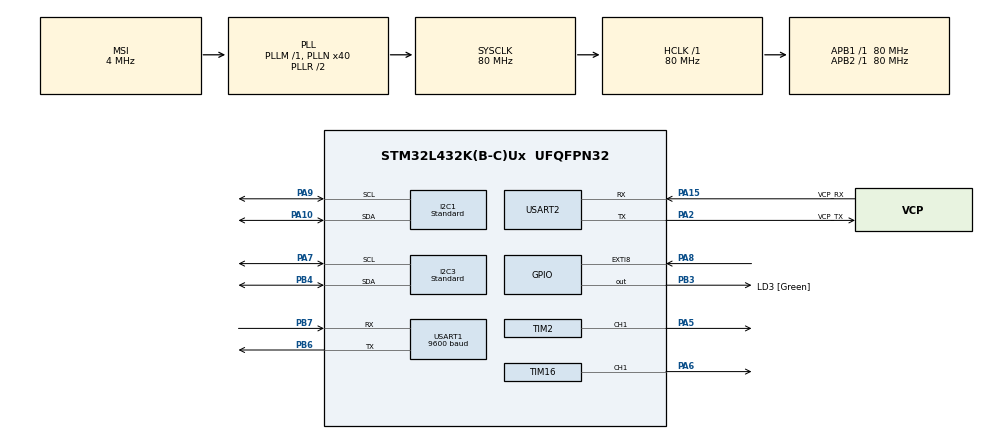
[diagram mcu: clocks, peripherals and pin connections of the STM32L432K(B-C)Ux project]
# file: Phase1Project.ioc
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Dma.I2C1_RX.0.Direction=DMA_PERIPH_TO_MEMORY
Dma.I2C1_RX.0.Instance=DMA1_Channel7
Dma.I2C1_RX.0.MemDataAlignment=DMA_MDATAALIGN_BYTE
Dma.I2C1_RX.0.MemInc=DMA_MINC_ENABLE
Dma.I2C1_RX.0.Mode=DMA_NORMAL
Dma.I2C1_RX.0.PeriphDataAlignment=DMA_PDATAALIGN_BYTE
Dma.I2C1_RX.0.PeriphInc=DMA_PINC_DISABLE
Dma.I2C1_RX.0.Priority=DMA_PRIORITY_LOW
Dma.Request0=I2C1_RX
FREERTOS.Tasks01=defaultTask,24,128,StartDefaultTask,Default,NULL,Dynamic,NULL,NULL
FREERTOS.configTOTAL_HEAP_SIZE=12288
I2C1.I2C_Fall_Time=10
I2C1.I2C_Rise_Time=100
I2C1.I2C_Speed_Mode=I2C_Standard
I2C1.Timing=0xC0201A20
I2C3.I2C_Speed_Mode=I2C_Standard
I2C3.Timing=0x10D19CE4
Mcu.Family=STM32L4
Mcu.Name=STM32L432K(B-C)Ux
Mcu.Package=UFQFPN32
NVIC.DMA1_Channel7_IRQn=true\:5\:0\:false\:false\:true\:true\:false\:true\:true
NVIC.EXTI9_5_IRQn=true\:5\:0\:false\:false\:true\:true\:true\:true\:true
NVIC.PriorityGroup=NVIC_PRIORITYGROUP_4
NVIC.TIM7_IRQn=true\:15\:0\:false\:false\:true\:false\:false\:true\:true
NVIC.TimeBase=TIM7_IRQn
NVIC.TimeBaseIP=TIM7
NVIC.USART2_IRQn=true\:5\:0\:false\:false\:true\:true\:true\:true\:true
PA0.GPIO_Label=MCO [High speed clock in]
PA0.Mode=HSE-External-Clock-Source-for-LittleOrca
PA0.Signal=RCC_CK_IN
PA10.Mode=I2C
PA10.Signal=I2C1_SDA
PA13\ (JTMS-SWDIO).GPIO_Label=SWDIO
PA13\ (JTMS-SWDIO).Mode=Serial_Wire
PA13\ (JTMS-SWDIO).Signal=SYS_JTMS-SWDIO
PA14\ (JTCK-SWCLK).GPIO_Label=SWCLK
PA14\ (JTCK-SWCLK).Mode=Serial_Wire
PA14\ (JTCK-SWCLK).Signal=SYS_JTCK-SWCLK
PA15\ (JTDI).GPIO_Label=VCP_RX
PA15\ (JTDI).Mode=Asynchronous
PA15\ (JTDI).Signal=USART2_RX
PA2.GPIO_Label=VCP_TX
PA2.Mode=Asynchronous
PA2.Signal=USART2_TX
PA5.Signal=S_TIM2_CH1
PA6.Signal=S_TIM16_CH1
PA7.Mode=I2C
PA7.Signal=I2C3_SCL
PA8.GPIO_ModeDefaultEXTI=GPIO_MODE_IT_FALLING
PA8.GPIO_PuPd=GPIO_PULLUP
PA8.Signal=GPXTI8
PA9.Mode=I2C
PA9.Signal=I2C1_SCL
PB3\ (JTDO-TRACESWO).GPIO_Label=LD3 [Green]
PB3\ (JTDO-TRACESWO).Signal=GPIO_Output
PB4\ (NJTRST).Mode=I2C
PB4\ (NJTRST).Signal=I2C3_SDA
PB6.Mode=Asynchronous
PB6.Signal=USART1_TX
PB7.Mode=Asynchronous
PB7.Signal=USART1_RX
PC14-OSC32_IN\ (PC14).Mode=LSE-External-Oscillator
PC14-OSC32_IN\ (PC14).Signal=RCC_OSC32_IN
PC15-OSC32_OUT\ (PC15).Mode=LSE-External-Oscillator
PC15-OSC32_OUT\ (PC15).Signal=RCC_OSC32_OUT
ProjectManager.HeapSize=0x200
ProjectManager.StackSize=0x400
ProjectManager.TargetToolchain=MDK-ARM V5.32
RCC.AHBFreq_Value=80000000
RCC.APB1Freq_Value=80000000
RCC.APB1TimFreq_Value=80000000
RCC.APB2Freq_Value=80000000
RCC.APB2TimFreq_Value=80000000
RCC.CortexFreq_Value=80000000
RCC.HCLKFreq_Value=80000000
RCC.HSE_VALUE=8000000
RCC.HSI16_VALUE=16000000
RCC.HSI48_VALUE=48000000
RCC.HSI_VALUE=16000000
RCC.MSI_VALUE=4000000
RCC.PLLMUL=RCC_PLLMUL_4
RCC.PLLN=40
RCC.SYSCLKFreq_VALUE=80000000
RCC.SYSCLKSource=RCC_SYSCLKSOURCE_PLLCLK
RCC.VCOOutputFreq_Value=160000000
SH.S_TIM16_CH1.0=TIM16_CH1,PWM Generation1 CH1
SH.S_TIM2_CH1.0=TIM2_CH1,PWM Generation1 CH1
TIM16.Channel=TIM_CHANNEL_1
TIM16.Prescaler=79
TIM2.Channel-PWM\ Generation1\ CH1=TIM_CHANNEL_1
TIM2.Period=0xffffffff
TIM2.Prescaler=79
USART1.BaudRate=9600
USART1.VirtualMode-Asynchronous=VM_ASYNC
USART2.VirtualMode-Asynchronous=VM_ASYNC
VP_FREERTOS_VS_CMSIS_V2.Mode=CMSIS_V2
VP_SYS_VS_tim7.Mode=TIM7
VP_TIM16_VS_ClockSourceINT.Mode=Enable_Timer
VP_TIM1_VS_ClockSourceINT.Mode=Internal
VP_TIM2_VS_ClockSourceINT.Mode=Internal
VP_TIM6_VS_ClockSourceINT.Mode=Enable_Timer
board=NUCLEO-L432KC

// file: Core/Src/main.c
/* USER CODE BEGIN Header */
/**
  ******************************************************************************
  * @file           : main.c
  * @brief          : Main program body
  ******************************************************************************
  */
/* USER CODE END Header */
#include "main.h"
#include "cmsis_os.h"

/* USER CODE BEGIN Includes */
#include "max30102.h"
#include "u8g2.h"
#include "display.h"
#include "hrv.h"
#include <stdio.h>
#include <string.h>

/* USER CODE END Includes */

/* USER CODE BEGIN PD */
#define BUZZER_FREQ(f)  do { \
    __HAL_TIM_SET_AUTORELOAD(&htim16, (80000000UL / (79+1)) / (f) - 1); \
    __HAL_TIM_SET_COMPARE(&htim16, TIM_CHANNEL_1, \
    (__HAL_TIM_GET_AUTORELOAD(&htim16) + 1) / 2); \
} while(0)
#define BUZZER_STOP()   HAL_TIM_PWM_Stop(&htim16, TIM_CHANNEL_1)
#define BUZZER_START()  HAL_TIM_PWM_Start(&htim16, TIM_CHANNEL_1)
#define NOTE_C4   262
#define NOTE_D4   294
#define NOTE_E4   330
#define NOTE_F4   349
#define NOTE_G4   392
#define NOTE_A4   440
#define NOTE_B4   494
#define NOTE_C5   523
#define NOTE_D5   587
#define NOTE_E5   659
#define NOTE_G4_  415
#define NOTE_A4_  466
/* USER CODE END PD */

I2C_HandleTypeDef hi2c1;
I2C_HandleTypeDef hi2c3;
DMA_HandleTypeDef hdma_i2c1_rx;

TIM_HandleTypeDef htim1;
TIM_HandleTypeDef htim2;
TIM_HandleTypeDef htim6;
TIM_HandleTypeDef htim16;

UART_HandleTypeDef huart1;
UART_HandleTypeDef huart2;

/* Definitions for defaultTask */
osThreadId_t defaultTaskHandle;
const osThreadAttr_t defaultTask_attributes = {
  .name = "defaultTask",
  .stack_size = 128 * 4,
  .priority = (osPriority_t) osPriorityNormal,
};
/* USER CODE BEGIN PV */
u8g2_t  u8g2;
HRV_t   hrv;

static uint32_t live_bpm          = 0;
static int32_t  ppg_prev          = 0;
static int32_t  ppg_prev2         = 0;
static uint32_t last_peak_ms      = 0;
static int32_t  ppg_min           = 0;
static int32_t  ppg_max           = 0;
static uint8_t  recalibrate_peaks = 0;

uint32_t t_fifo = 0;
uint32_t t_hrv  = 0;
uint32_t t_disp = 0;

int32_t  wave_buf[128] = {0};
uint8_t  wave_idx      = 0;

static uint32_t dbg_fifo_reads  = 0;
static uint32_t dbg_fifo_empty  = 0;
static uint32_t dbg_fifo_errors = 0;
static uint32_t dbg_beat_count  = 0;
static uint32_t dbg_disp_count  = 0;
static uint8_t  max_ok          = 0;
static int32_t  last_ir         = 0;

typedef enum { BREATH_IDLE=0, BREATH_INHALE, BREATH_HOLD, BREATH_EXHALE } BreathState_t;
static BreathState_t breath_state      = BREATH_IDLE;
static uint32_t      breath_timer      = 0;
static uint8_t       breath_radius     = 8;
static uint8_t       finger_detected   = 0;
static uint32_t      buzzer_timer      = 0;
static uint8_t       buzzer_active     = 0;
static uint32_t      buzzer_duration   = 0;
static BreathState_t prev_breath_state = BREATH_IDLE;

static const uint16_t calm_melody[][2] = {
    {NOTE_C4,1200},{NOTE_E4,1200},{NOTE_G4,1200},
    {NOTE_A4,1600},{0,400},
    {NOTE_G4,1200},{NOTE_E4,1200},{NOTE_D4,1200},
    {NOTE_C4,2000},{0,600},
    {NOTE_E4,1200},{NOTE_G4,1200},{NOTE_A4,1200},
    {NOTE_C5,2000},{0,600},
    {NOTE_A4,1200},{NOTE_G4,1200},{NOTE_E4,1200},
    {NOTE_C4,2400},{0,1000}
};
#define MELODY_LEN (sizeof(calm_melody)/sizeof(calm_melody[0]))

static uint8_t  melody_note_idx  = 0;
static uint32_t melody_note_time = 0;
static uint8_t  melody_playing   = 0;
static uint32_t dbg_status_timer = 0;
/* USER CODE END PV */

void SystemClock_Config(void);
static void MX_GPIO_Init(void);
static void MX_DMA_Init(void);
static void MX_I2C1_Init(void);
static void MX_USART2_UART_Init(void);
static void MX_I2C3_Init(void);
static void MX_TIM2_Init(void);
static void MX_USART1_UART_Init(void);
static void MX_TIM1_Init(void);
static void MX_TIM6_Init(void);
static void MX_TIM16_Init(void);
void StartDefaultTask(void *argument);

/* USER CODE BEGIN PFP */
uint8_t u8x8_byte_stm32_hw_i2c(u8x8_t *u8x8, uint8_t msg, uint8_t arg_int, void *arg_ptr);
uint8_t u8x8_gpio_delay_stm32(u8x8_t *u8x8, uint8_t msg, uint8_t arg_int, void *arg_ptr);
void Breathing_Update(uint32_t now, uint8_t stress);
void draw_breathing(u8g2_t *u8g2);
void Task_FIFO(void *arg);
void Task_HRV(void *arg);
void Task_Display(void *arg);
/* USER CODE END PFP */

/* USER CODE BEGIN 0 */
#define FINGER_THRESHOLD 30000UL

static void stage(const char *name) { DBG("> STG: %s\r\n", name); }

static void i2c_scan(I2C_HandleTypeDef *hi2c, const char *bus) {
    DBG("Scan %s:\r\n", bus);
    uint8_t found = 0;
    for (uint16_t addr = 1; addr < 128; addr++) {
        if (HAL_I2C_IsDeviceReady(hi2c, (uint16_t)(addr<<1), 3, 5) == HAL_OK) {
            DBG(" +0x%02X\r\n", addr); found++;
        }
    }
    if (!found) DBG(" NONE\r\n");
}

static void max30102_reg_dump(I2C_HandleTypeDef *hi2c) {
    uint8_t regs[] = {0x00,0x01,0x04,0x05,0x06,0x09,0x0A,0x0C,0x0D,0xFF};
    uint8_t val;
    DBG("REGS:\r\n");
    for (uint8_t i = 0; i < 10; i++)
        if (HAL_I2C_Mem_Read(hi2c, 0xAE, regs[i], 1, &val, 1, 20) == HAL_OK)
            DBG(" %02X:%02X\r\n", regs[i], val);
}

void Breathing_Update(uint32_t now, uint8_t stress)
{
    if (stress < 40) { breath_state = BREATH_IDLE; breath_radius = 8; return; }
    if (breath_state == BREATH_IDLE) { breath_state = BREATH_INHALE; breath_timer = now; }
    switch (breath_state) {
        case BREATH_INHALE:
            if (breath_radius < 24) breath_radius++;
            if (now - breath_timer >= 4000) { breath_state = BREATH_HOLD; breath_timer = now; }
            break;
        case BREATH_HOLD:
            if (now - breath_timer >= 2000) { breath_state = BREATH_EXHALE; breath_timer = now; }
            break;
        case BREATH_EXHALE:
            if (breath_radius > 8) breath_radius--;
            if (now - breath_timer >= 6000) { breath_state = BREATH_INHALE; breath_timer = now; }
            break;
        default: break;
    }
}

void draw_breathing(u8g2_t *u8g2)
{
    u8g2_ClearBuffer(u8g2);
    u8g2_SetFont(u8g2, u8g2_font_ncenB08_tr);
    switch (breath_state) {
        case BREATH_INHALE: u8g2_DrawStr(u8g2, 34, 12, "INHALE"); break;
        case BREATH_HOLD:   u8g2_DrawStr(u8g2, 42, 12, "HOLD");   break;
        case BREATH_EXHALE: u8g2_DrawStr(u8g2, 34, 12, "EXHALE"); break;
        default: break;
    }
    u8g2_DrawCircle(u8g2, 64, 40, breath_radius, U8G2_DRAW_ALL);
    u8g2_SendBuffer(u8g2);
}

static uint32_t last_read_count = 0;
static uint32_t last_read_time  = 0;

void Music_Start(void)
{
    melody_playing = 1; melody_note_idx = 0; melody_note_time = HAL_GetTick();
    if (calm_melody[0][0] == 0) { BUZZER_STOP(); }
    else { BUZZER_FREQ(calm_melody[0][0]); BUZZER_START(); }
    DBG("MUSIC START\r\n");
}
void Music_Stop(void)  { melody_playing = 0; BUZZER_STOP(); DBG("MUSIC STOP\r\n"); }
void Music_Update(uint32_t now)
{
    if (!melody_playing) return;
    if (now - melody_note_time >= calm_melody[melody_note_idx][1]) {
        melody_note_idx  = (melody_note_idx + 1) % MELODY_LEN;
        melody_note_time = now;
        uint16_t freq = calm_melody[melody_note_idx][0];
        if (freq == 0) { BUZZER_STOP(); } else { BUZZER_FREQ(freq); BUZZER_START(); }
    }
}

void Task_FIFO(void *arg)
{
    (void)arg;
    for (;;)
    {
        uint32_t now = HAL_GetTick();
        Music_Update(now);

        uint8_t navail = MAX30102_SamplesAvailable(&hi2c1);
        if (navail == 0xFF) DBG("!I2C ERR\r\n");
        if (navail == 0) { dbg_fifo_empty++; }
        else {
            for (uint8_t s = 0; s < navail && s < 32; s++)
            {
                uint32_t r_v = 0, i_v = 0;
                if (MAX30102_ReadRaw(&hi2c1, &r_v, &i_v) != HAL_OK) {
                    dbg_fifo_errors++; break;
                }
                dbg_fifo_reads++;
                last_ir = (int32_t)i_v;

                if (i_v < 20000) {
                    if (finger_detected == 1) {
                        DBG("FINGER REMOVED\r\n");
                        finger_detected = 0;
                    }
                } else {
                    if (finger_detected == 0) {
                        DBG("FINGER DETECTED\r\n");
                        DBG("[ATTACH] raw_ir=%lu\r\n", (unsigned long)i_v);
                        finger_detected   = 1;
                        memset(&hrv, 0, sizeof(hrv));
                        wave_idx          = 0;
                        memset(wave_buf, 0, sizeof(wave_buf));
                        recalibrate_peaks = 1;
                        ppg_min = 0;
                        ppg_max = 0;
                        process_ppg_reset_filter();
                        DBG("[FIX1] envelope reset\r\n");
                    }
                }

                if (i_v < 1000 && (dbg_fifo_reads % 100 == 1)) DBG("!FINGER\r\n");
								if (i_v < 1000) {
										process_ppg_reset_filter();
										recalibrate_peaks = 1;
								}
                int32_t flt = process_ppg_signal((int32_t)i_v);
                flt = -flt;

                if (recalibrate_peaks) {
                    ppg_max = flt; ppg_min = flt;
                    ppg_prev = flt; ppg_prev2 = flt;
                    last_peak_ms = now;
                    recalibrate_peaks = 0;
                }

                wave_buf[wave_idx % 128] = flt;
                wave_idx++;

                if (dbg_fifo_reads == 1) { ppg_max = flt; ppg_min = flt; }
                if (flt > ppg_max) ppg_max = flt;
                if (flt < ppg_min) ppg_min = flt;

                if (dbg_fifo_reads % 100 == 0) {
                    int32_t mid = (ppg_max + ppg_min) / 2;
                    ppg_max = mid + ((ppg_max - mid) * 15) / 16;
                    ppg_min = mid + ((ppg_min - mid) * 15) / 16;
                }

                int32_t range     = ppg_max - ppg_min;
                int32_t threshold = ppg_min + (range * 7 / 10);

                if (dbg_fifo_reads % 100 == 0)
                    DBG("[ENV] reads=%lu flt=%ld min=%ld max=%ld range=%ld thr=%ld\r\n",
                        (unsigned long)dbg_fifo_reads,
                        (long)flt, (long)ppg_min, (long)ppg_max,
                        (long)range, (long)threshold);

                if (ppg_prev2 < ppg_prev &&
                    ppg_prev  > flt       &&
                    ppg_prev  > threshold &&
                    ppg_prev  > 0         &&
                    range     > 200)
                {
                    uint32_t gap_ms = now - last_peak_ms;
                    DBG("[PEAK] gap=%lu ms prev=%ld thr=%ld range=%ld\r\n",
                        (unsigned long)gap_ms, (long)ppg_prev,
                        (long)threshold, (long)range);

                    if (last_peak_ms == 0) {
                        last_peak_ms = now;
                    } else if (gap_ms >= 550 && gap_ms <= 2000) {
                        if (finger_detected) {
                            uint32_t ts = __HAL_TIM_GET_COUNTER(&htim2);
                            HRV_OnBeat(&hrv, ts);
                            live_bpm = 60000UL / gap_ms;
                            dbg_beat_count++;
                            DBG("BEAT %u bpm\r\n", (unsigned int)(60000UL / gap_ms));
                        }
                        last_peak_ms = now;
                    } else if (gap_ms > 2000) {
                        last_peak_ms = now;
                        DBG("[PEAK] anchor reset (gap too long)\r\n");
                    } else {
                        DBG("[PEAK] noise (%lu ms < 550)\r\n", (unsigned long)gap_ms);
                    }
                }

                ppg_prev2 = ppg_prev;
                ppg_prev  = flt;
            }
        }

        if (navail >= 30) {
            DBG("!FIFO OVF\r\n");
            uint8_t zero = 0x00, dummy;
            HAL_I2C_Mem_Read (&hi2c1, 0xAE, 0x00, 1, &dummy, 1, 10);
            HAL_I2C_Mem_Read (&hi2c1, 0xAE, 0x01, 1, &dummy, 1, 10);
            HAL_I2C_Mem_Write(&hi2c1, 0xAE, 0x04, 1, &zero,  1, 10);
            HAL_I2C_Mem_Write(&hi2c1, 0xAE, 0x05, 1, &zero,  1, 10);
            HAL_I2C_Mem_Write(&hi2c1, 0xAE, 0x06, 1, &zero,  1, 10);
            ppg_prev = 0; ppg_prev2 = 0;
        }

        osDelay(10);

    }
}

void Task_HRV(void *arg)
{
    (void)arg;

    osDelay(5000); // wait for first beats
;
    for (;;)
    {
       osDelay(30000);

        DBG("[HRV TRIGGER] buf_idx=%u valid=%u beats=%lu\r\n",
            (unsigned int)hrv.buffer_idx,
            (unsigned int)hrv.valid,
            (unsigned long)dbg_beat_count);
        HRV_Compute(&hrv);

        if (hrv.valid) {
            const char *lbl;
            if      (hrv.stress_index > 70) lbl = "HIGH STRESS";
            else if (hrv.stress_index > 40) lbl = "MEDIUM";
            else if (hrv.stress_index > 20) lbl = "RELAXED";
            else                            lbl = "VERY RELAXED";
            DBG("\r\n--- BIOMETRIC STATUS ---\r\n");
            DBG("HEART RATE: %u BPM\r\n", hrv.hr_bpm);
            DBG("SDNN:       %u ms\r\n",  hrv.sdnn_ms);
            DBG("RMSSD:      %u ms\r\n",  hrv.rmssd_ms);
            DBG("STRESS:     %u/100\r\n", hrv.stress_index);
            DBG("STATE:      %s\r\n",     lbl);
            DBG("------------------------\r\n");
						char ble_buf[48];
						int  ble_len = snprintf(ble_buf, sizeof(ble_buf), "$HRV,%u,%u,%u\r\n",
																		hrv.hr_bpm, hrv.stress_index, (unsigned int)finger_detected);

						taskENTER_CRITICAL();
						HAL_UART_Transmit(&huart1, (uint8_t*)ble_buf, ble_len, 500);
						taskEXIT_CRITICAL();
        } else {
            DBG("CALCULATING... buf_idx=%u need 2\r\n", (unsigned int)hrv.buffer_idx);
        }
				        osDelay(5000); // send every 5s instead of 30s

    }
}

void Task_Display(void *arg)
{
    (void)arg;
    for (;;)
    {
        uint32_t now = HAL_GetTick();

        if (!finger_detected) {
            u8g2_ClearBuffer(&u8g2);
            u8g2_SetFont(&u8g2, u8g2_font_ncenB10_tr);
            u8g2_DrawStr(&u8g2, 15, 30, "PLACE FINGER");
            u8g2_DrawFrame(&u8g2, 0, 0, 128, 64);
            u8g2_SendBuffer(&u8g2);
            if (melody_playing) Music_Stop();
            prev_breath_state = BREATH_IDLE;
        } else if (!hrv.valid) {
            u8g2_ClearBuffer(&u8g2);
            u8g2_SetFont(&u8g2, u8g2_font_ncenB08_tr);
            u8g2_DrawStr(&u8g2, 15, 25, "ANALYZING...");
            u8g2_DrawStr(&u8g2, 15, 45, "Keep Still...");
            u8g2_SendBuffer(&u8g2);
            if (melody_playing) Music_Stop();
            prev_breath_state = BREATH_IDLE;
        } else if (hrv.stress_index > 40) {
            Breathing_Update(now, hrv.stress_index);
            draw_breathing(&u8g2);
            if (breath_state == BREATH_INHALE && prev_breath_state != BREATH_INHALE)
                if (!melody_playing) Music_Start();
            prev_breath_state = breath_state;
				} else {
						if (melody_playing) Music_Stop();
						prev_breath_state = BREATH_IDLE;
						static int32_t render[128];
						for (int i = 0; i < 128; i++) render[i] = wave_buf[(wave_idx + i) % 128];
						display_update(&u8g2, hrv.hr_bpm, 98, hrv.stress_index, render);
				}

        osDelay(80);

    }
}
/* USER CODE END 0 */

int main(void)
{

  /* MCU Configuration--------------------------------------------------------*/

  /* Reset of all peripherals, Initializes the Flash interface and the Systick. */
  HAL_Init();

  /* Configure the system clock */
  SystemClock_Config();

  /* Initialize all configured peripherals */
  MX_GPIO_Init();
  MX_DMA_Init();
  MX_I2C1_Init();
  MX_USART2_UART_Init();
  MX_I2C3_Init();
  MX_TIM2_Init();
  MX_USART1_UART_Init();
  MX_TIM1_Init();
  MX_TIM6_Init();
  MX_TIM16_Init();
  /* USER CODE BEGIN 2 */
  HAL_Delay(10);
  DBG("\r\n** BOOT **\r\n");
  DBG("CLK: %uHz\r\n", (unsigned int)SystemCoreClock);

  stage("LED");
  for (int i = 0; i < 6; i++) { HAL_GPIO_TogglePin(LD3_GPIO_Port, LD3_Pin); HAL_Delay(100); }

  stage("I2C3"); i2c_scan(&hi2c3, "I2C3");
  stage("I2C1"); i2c_scan(&hi2c1, "I2C1");

  stage("TIM2");
  if (HAL_TIM_Base_Start(&htim2) != HAL_OK) DBG("TIM2 FAIL\r\n");

  {
      uint32_t t0 = __HAL_TIM_GET_COUNTER(&htim2);
      HAL_Delay(10);
      uint32_t t1 = __HAL_TIM_GET_COUNTER(&htim2);
      uint32_t ticks_per_10ms = t1 - t0;
      uint32_t ticks_per_ms   = ticks_per_10ms / 10;
      DBG("[TIM2] 10ms = %lu ticks -> %lu ticks/ms (expect 1000)\r\n",
          (unsigned long)ticks_per_10ms,
          (unsigned long)ticks_per_ms);

      uint32_t actual_input_clk = ticks_per_ms * 1000UL * (79 + 1);
      uint32_t new_psc = (actual_input_clk / 1000000UL) - 1;
      DBG("[TIM2] actual_input_clk=%lu Hz  new_psc=%lu\r\n",
          (unsigned long)actual_input_clk,
          (unsigned long)new_psc);

      /* Apply the corrected prescaler at runtime */
      __HAL_TIM_SET_PRESCALER(&htim2, new_psc);
      /* Force update so PSC takes effect immediately */
      htim2.Instance->EGR = TIM_EGR_UG;

      /* Verify */
      t0 = __HAL_TIM_GET_COUNTER(&htim2);
      HAL_Delay(1);
      t1 = __HAL_TIM_GET_COUNTER(&htim2);
      DBG("[TIM2] after fix: 1ms = %lu ticks (expect ~1000)\r\n",
          (unsigned long)(t1 - t0));
  }

  stage("MAX30102");
  if (MAX30102_Init(&hi2c1) != HAL_OK) { DBG("MAX FAIL\r\n"); max_ok = 0; }
  else { DBG("MAX OK\r\n"); max_ok = 1; max30102_reg_dump(&hi2c1); }

  stage("OLED");
  u8g2_Setup_ssd1306_i2c_128x64_noname_f(&u8g2, U8G2_R0, u8x8_byte_stm32_hw_i2c, u8x8_gpio_delay_stm32);
  u8g2_InitDisplay(&u8g2);
  u8g2_SetPowerSave(&u8g2, 0);
  u8g2_ClearBuffer(&u8g2);
  u8g2_SetFont(&u8g2, u8g2_font_ncenB08_tr);
  u8g2_DrawStr(&u8g2, 10, 35, max_ok ? "MAX OK" : "MAX FAIL");
  u8g2_SendBuffer(&u8g2);
  HAL_Delay(1000);

  stage("HRV");
  memset(&hrv, 0, sizeof(hrv));

  stage("TIM16 PWM");
  HAL_TIM_Base_Start(&htim16);
  BUZZER_STOP();
  DBG("BUZZER OK\r\n");
  /* USER CODE END 2 */

  /* Init scheduler */
  osKernelInitialize();

  /* Create the thread(s) */
  /* creation of defaultTask */
  defaultTaskHandle = osThreadNew(StartDefaultTask, NULL, &defaultTask_attributes);

  /* USER CODE BEGIN RTOS_THREADS */

  static const osThreadAttr_t fifo_attr  = { .name="FIFO", .stack_size=1024, .priority=osPriorityAboveNormal };
  static const osThreadAttr_t hrv_attr   = { .name="HRV",  .stack_size=1024,  .priority=osPriorityNormal      };
  static const osThreadAttr_t disp_attr  = { .name="DISP", .stack_size=1024, .priority=osPriorityBelowNormal };
  osThreadNew(Task_FIFO,    NULL, &fifo_attr);
  osThreadNew(Task_HRV,     NULL, &hrv_attr);
  osThreadNew(Task_Display, NULL, &disp_attr);
  /* USER CODE END RTOS_THREADS */

  /* Start scheduler */
  osKernelStart();

  /* We should never get here as control is now taken by the scheduler */

  /* Infinite loop */
  while (1)
  {

  }
}

void SystemClock_Config(void)
{
  RCC_OscInitTypeDef RCC_OscInitStruct = {0};
  RCC_ClkInitTypeDef RCC_ClkInitStruct = {0};

  /** Configure the main internal regulator output voltage
  */
  if (HAL_PWREx_ControlVoltageScaling(PWR_REGULATOR_VOLTAGE_SCALE1) != HAL_OK)
  {
    Error_Handler();
  }

  /** Configure LSE Drive Capability
  */
  HAL_PWR_EnableBkUpAccess();
  __HAL_RCC_LSEDRIVE_CONFIG(RCC_LSEDRIVE_LOW);

  /** Initializes the RCC Oscillators according to the specified parameters
  * in the RCC_OscInitTypeDef structure.
  */
  RCC_OscInitStruct.OscillatorType = RCC_OSCILLATORTYPE_LSE|RCC_OSCILLATORTYPE_MSI;
  RCC_OscInitStruct.LSEState = RCC_LSE_ON;
  RCC_OscInitStruct.MSIState = RCC_MSI_ON;
  RCC_OscInitStruct.MSICalibrationValue = 0;
  RCC_OscInitStruct.MSIClockRange = RCC_MSIRANGE_6;
  RCC_OscInitStruct.PLL.PLLState = RCC_PLL_ON;
  RCC_OscInitStruct.PLL.PLLSource = RCC_PLLSOURCE_MSI;
  RCC_OscInitStruct.PLL.PLLM = 1;
  RCC_OscInitStruct.PLL.PLLN = 40;
  RCC_OscInitStruct.PLL.PLLP = RCC_PLLP_DIV7;
  RCC_OscInitStruct.PLL.PLLQ = RCC_PLLQ_DIV2;
  RCC_OscInitStruct.PLL.PLLR = RCC_PLLR_DIV2;
  if (HAL_RCC_OscConfig(&RCC_OscInitStruct) != HAL_OK)
  {
    Error_Handler();
  }

  /** Initializes the CPU, AHB and APB buses clocks
  */
  RCC_ClkInitStruct.ClockType = RCC_CLOCKTYPE_HCLK|RCC_CLOCKTYPE_SYSCLK
                              |RCC_CLOCKTYPE_PCLK1|RCC_CLOCKTYPE_PCLK2;
  RCC_ClkInitStruct.SYSCLKSource = RCC_SYSCLKSOURCE_PLLCLK;
  RCC_ClkInitStruct.AHBCLKDivider = RCC_SYSCLK_DIV1;
  RCC_ClkInitStruct.APB1CLKDivider = RCC_HCLK_DIV1;
  RCC_ClkInitStruct.APB2CLKDivider = RCC_HCLK_DIV1;

  if (HAL_RCC_ClockConfig(&RCC_ClkInitStruct, FLASH_LATENCY_4) != HAL_OK)
  {
    Error_Handler();
  }

  /** Enable MSI Auto calibration
  */
  HAL_RCCEx_EnableMSIPLLMode();
}

static void MX_I2C1_Init(void)
{

  hi2c1.Instance = I2C1;
  hi2c1.Init.Timing = 0xC0201A20;
  hi2c1.Init.OwnAddress1 = 0;
  hi2c1.Init.AddressingMode = I2C_ADDRESSINGMODE_7BIT;
  hi2c1.Init.DualAddressMode = I2C_DUALADDRESS_DISABLE;
  hi2c1.Init.OwnAddress2 = 0;
  hi2c1.Init.OwnAddress2Masks = I2C_OA2_NOMASK;
  hi2c1.Init.GeneralCallMode = I2C_GENERALCALL_DISABLE;
  hi2c1.Init.NoStretchMode = I2C_NOSTRETCH_DISABLE;
  if (HAL_I2C_Init(&hi2c1) != HAL_OK)
  {
    Error_Handler();
  }

  /** Configure Analogue filter
  */
  if (HAL_I2CEx_ConfigAnalogFilter(&hi2c1, I2C_ANALOGFILTER_ENABLE) != HAL_OK)
  {
    Error_Handler();
  }

  /** Configure Digital filter
  */
  if (HAL_I2CEx_ConfigDigitalFilter(&hi2c1, 0) != HAL_OK)
  {
    Error_Handler();
  }

}

static void MX_I2C3_Init(void)
{

  hi2c3.Instance = I2C3;
  hi2c3.Init.Timing = 0x10D19CE4;
  hi2c3.Init.OwnAddress1 = 0;
  hi2c3.Init.AddressingMode = I2C_ADDRESSINGMODE_7BIT;
  hi2c3.Init.DualAddressMode = I2C_DUALADDRESS_DISABLE;
  hi2c3.Init.OwnAddress2 = 0;
  hi2c3.Init.OwnAddress2Masks = I2C_OA2_NOMASK;
  hi2c3.Init.GeneralCallMode = I2C_GENERALCALL_DISABLE;
  hi2c3.Init.NoStretchMode = I2C_NOSTRETCH_DISABLE;
  if (HAL_I2C_Init(&hi2c3) != HAL_OK)
  {
    Error_Handler();
  }

  /** Configure Analogue filter
  */
  if (HAL_I2CEx_ConfigAnalogFilter(&hi2c3, I2C_ANALOGFILTER_ENABLE) != HAL_OK)
  {
    Error_Handler();
  }

  /** Configure Digital filter
  */
  if (HAL_I2CEx_ConfigDigitalFilter(&hi2c3, 0) != HAL_OK)
  {
    Error_Handler();
  }

}

static void MX_TIM1_Init(void)
{

  TIM_ClockConfigTypeDef sClockSourceConfig = {0};
  TIM_MasterConfigTypeDef sMasterConfig = {0};

  htim1.Instance = TIM1;
  htim1.Init.Prescaler = 0;
  htim1.Init.CounterMode = TIM_COUNTERMODE_UP;
  htim1.Init.Period = 65535;
  htim1.Init.ClockDivision = TIM_CLOCKDIVISION_DIV1;
  htim1.Init.RepetitionCounter = 0;
  htim1.Init.AutoReloadPreload = TIM_AUTORELOAD_PRELOAD_DISABLE;
  if (HAL_TIM_Base_Init(&htim1) != HAL_OK)
  {
    Error_Handler();
  }
  sClockSourceConfig.ClockSource = TIM_CLOCKSOURCE_INTERNAL;
  if (HAL_TIM_ConfigClockSource(&htim1, &sClockSourceConfig) != HAL_OK)
  {
    Error_Handler();
  }
  sMasterConfig.MasterOutputTrigger = TIM_TRGO_RESET;
  sMasterConfig.MasterOutputTrigger2 = TIM_TRGO2_RESET;
  sMasterConfig.MasterSlaveMode = TIM_MASTERSLAVEMODE_DISABLE;
  if (HAL_TIMEx_MasterConfigSynchronization(&htim1, &sMasterConfig) != HAL_OK)
  {
    Error_Handler();
  }

}

static void MX_TIM2_Init(void)
{

  TIM_ClockConfigTypeDef sClockSourceConfig = {0};
  TIM_MasterConfigTypeDef sMasterConfig = {0};
  TIM_OC_InitTypeDef sConfigOC = {0};

  htim2.Instance = TIM2;
  htim2.Init.Prescaler = 79;
  htim2.Init.CounterMode = TIM_COUNTERMODE_UP;
  htim2.Init.Period = 0xffffffff;
  htim2.Init.ClockDivision = TIM_CLOCKDIVISION_DIV1;
  htim2.Init.AutoReloadPreload = TIM_AUTORELOAD_PRELOAD_DISABLE;
  if (HAL_TIM_Base_Init(&htim2) != HAL_OK)
  {
    Error_Handler();
  }
  sClockSourceConfig.ClockSource = TIM_CLOCKSOURCE_INTERNAL;
  if (HAL_TIM_ConfigClockSource(&htim2, &sClockSourceConfig) != HAL_OK)
  {
    Error_Handler();
  }
  if (HAL_TIM_PWM_Init(&htim2) != HAL_OK)
  {
    Error_Handler();
  }
  sMasterConfig.MasterOutputTrigger = TIM_TRGO_RESET;
  sMasterConfig.MasterSlaveMode = TIM_MASTERSLAVEMODE_DISABLE;
  if (HAL_TIMEx_MasterConfigSynchronization(&htim2, &sMasterConfig) != HAL_OK)
  {
    Error_Handler();
  }
  sConfigOC.OCMode = TIM_OCMODE_PWM1;
  sConfigOC.Pulse = 0;
  sConfigOC.OCPolarity = TIM_OCPOLARITY_HIGH;
  sConfigOC.OCFastMode = TIM_OCFAST_DISABLE;
  if (HAL_TIM_PWM_ConfigChannel(&htim2, &sConfigOC, TIM_CHANNEL_1) != HAL_OK)
  {
    Error_Handler();
  }
  HAL_TIM_MspPostInit(&htim2);

}

static void MX_TIM6_Init(void)
{

  TIM_MasterConfigTypeDef sMasterConfig = {0};

  htim6.Instance = TIM6;
  htim6.Init.Prescaler = 0;
  htim6.Init.CounterMode = TIM_COUNTERMODE_UP;
  htim6.Init.Period = 65535;
  htim6.Init.AutoReloadPreload = TIM_AUTORELOAD_PRELOAD_DISABLE;
  if (HAL_TIM_Base_Init(&htim6) != HAL_OK)
  {
    Error_Handler();
  }
  sMasterConfig.MasterOutputTrigger = TIM_TRGO_RESET;
  sMasterConfig.MasterSlaveMode = TIM_MASTERSLAVEMODE_DISABLE;
  if (HAL_TIMEx_MasterConfigSynchronization(&htim6, &sMasterConfig) != HAL_OK)
  {
    Error_Handler();
  }

}

static void MX_TIM16_Init(void)
{

  TIM_OC_InitTypeDef sConfigOC = {0};
  TIM_BreakDeadTimeConfigTypeDef sBreakDeadTimeConfig = {0};

  htim16.Instance = TIM16;
  htim16.Init.Prescaler = 79;
  htim16.Init.CounterMode = TIM_COUNTERMODE_UP;
  htim16.Init.Period = 65535;
  htim16.Init.ClockDivision = TIM_CLOCKDIVISION_DIV1;
  htim16.Init.RepetitionCounter = 0;
  htim16.Init.AutoReloadPreload = TIM_AUTORELOAD_PRELOAD_DISABLE;
  if (HAL_TIM_Base_Init(&htim16) != HAL_OK)
  {
    Error_Handler();
  }
  if (HAL_TIM_PWM_Init(&htim16) != HAL_OK)
  {
    Error_Handler();
  }
  sConfigOC.OCMode = TIM_OCMODE_PWM1;
  sConfigOC.Pulse = 0;
  sConfigOC.OCPolarity = TIM_OCPOLARITY_HIGH;
  sConfigOC.OCNPolarity = TIM_OCNPOLARITY_HIGH;
  sConfigOC.OCFastMode = TIM_OCFAST_DISABLE;
  sConfigOC.OCIdleState = TIM_OCIDLESTATE_RESET;
  sConfigOC.OCNIdleState = TIM_OCNIDLESTATE_RESET;
  if (HAL_TIM_PWM_ConfigChannel(&htim16, &sConfigOC, TIM_CHANNEL_1) != HAL_OK)
  {
    Error_Handler();
  }
  sBreakDeadTimeConfig.OffStateRunMode = TIM_OSSR_DISABLE;
  sBreakDeadTimeConfig.OffStateIDLEMode = TIM_OSSI_DISABLE;
  sBreakDeadTimeConfig.LockLevel = TIM_LOCKLEVEL_OFF;
  sBreakDeadTimeConfig.DeadTime = 0;
  sBreakDeadTimeConfig.BreakState = TIM_BREAK_DISABLE;
  sBreakDeadTimeConfig.BreakPolarity = TIM_BREAKPOLARITY_HIGH;
  sBreakDeadTimeConfig.AutomaticOutput = TIM_AUTOMATICOUTPUT_DISABLE;
  if (HAL_TIMEx_ConfigBreakDeadTime(&htim16, &sBreakDeadTimeConfig) != HAL_OK)
  {
    Error_Handler();
  }
  HAL_TIM_MspPostInit(&htim16);

}

static void MX_USART1_UART_Init(void)
{

  huart1.Instance = USART1;
  huart1.Init.BaudRate = 9600;
  huart1.Init.WordLength = UART_WORDLENGTH_8B;
  huart1.Init.StopBits = UART_STOPBITS_1;
  huart1.Init.Parity = UART_PARITY_NONE;
  huart1.Init.Mode = UART_MODE_TX_RX;
  huart1.Init.HwFlowCtl = UART_HWCONTROL_NONE;
  huart1.Init.OverSampling = UART_OVERSAMPLING_16;
  huart1.Init.OneBitSampling = UART_ONE_BIT_SAMPLE_DISABLE;
  huart1.AdvancedInit.AdvFeatureInit = UART_ADVFEATURE_NO_INIT;
  if (HAL_UART_Init(&huart1) != HAL_OK)
  {
    Error_Handler();
  }

}

static void MX_USART2_UART_Init(void)
{

  huart2.Instance = USART2;
  huart2.Init.BaudRate = 115200;
  huart2.Init.WordLength = UART_WORDLENGTH_8B;
  huart2.Init.StopBits = UART_STOPBITS_1;
  huart2.Init.Parity = UART_PARITY_NONE;
  huart2.Init.Mode = UART_MODE_TX_RX;
  huart2.Init.HwFlowCtl = UART_HWCONTROL_NONE;
  huart2.Init.OverSampling = UART_OVERSAMPLING_16;
  huart2.Init.OneBitSampling = UART_ONE_BIT_SAMPLE_DISABLE;
  huart2.AdvancedInit.AdvFeatureInit = UART_ADVFEATURE_NO_INIT;
  if (HAL_UART_Init(&huart2) != HAL_OK)
  {
    Error_Handler();
  }

}

static void MX_DMA_Init(void)
{

  /* DMA controller clock enable */
  __HAL_RCC_DMA1_CLK_ENABLE();

  /* DMA interrupt init */
  /* DMA1_Channel7_IRQn interrupt configuration */
  HAL_NVIC_SetPriority(DMA1_Channel7_IRQn, 5, 0);
  HAL_NVIC_EnableIRQ(DMA1_Channel7_IRQn);

}

static void MX_GPIO_Init(void)
{
  GPIO_InitTypeDef GPIO_InitStruct = {0};

  /* GPIO Ports Clock Enable */
  __HAL_RCC_GPIOC_CLK_ENABLE();
  __HAL_RCC_GPIOA_CLK_ENABLE();
  __HAL_RCC_GPIOB_CLK_ENABLE();

  /*Configure GPIO pin Output Level */
  HAL_GPIO_WritePin(LD3_GPIO_Port, LD3_Pin, GPIO_PIN_RESET);

  /*Configure GPIO pin : PA8 */
  GPIO_InitStruct.Pin = GPIO_PIN_8;
  GPIO_InitStruct.Mode = GPIO_MODE_IT_FALLING;
  GPIO_InitStruct.Pull = GPIO_PULLUP;
  HAL_GPIO_Init(GPIOA, &GPIO_InitStruct);

  /*Configure GPIO pin : LD3_Pin */
  GPIO_InitStruct.Pin = LD3_Pin;
  GPIO_InitStruct.Mode = GPIO_MODE_OUTPUT_PP;
  GPIO_InitStruct.Pull = GPIO_NOPULL;
  GPIO_InitStruct.Speed = GPIO_SPEED_FREQ_LOW;
  HAL_GPIO_Init(LD3_GPIO_Port, &GPIO_InitStruct);

  /* EXTI interrupt init*/
  HAL_NVIC_SetPriority(EXTI9_5_IRQn, 5, 0);
  HAL_NVIC_EnableIRQ(EXTI9_5_IRQn);

}

/* USER CODE BEGIN 4 */
void vApplicationStackOverflowHook(TaskHandle_t xTask, char *pcTaskName)
{
    DBG("STACK OVERFLOW: %s\r\n", pcTaskName);
    while(1) {}
}
/* USER CODE END 4 */

void StartDefaultTask(void *argument)
{
  for(;;)
  {
    osDelay(1);
  }
}

void HAL_TIM_PeriodElapsedCallback(TIM_HandleTypeDef *htim)
{
  if (htim->Instance == TIM7)
  {
    HAL_IncTick();
  }
}

void Error_Handler(void)
{
  __disable_irq();
  while (1)
  {
  }
}
